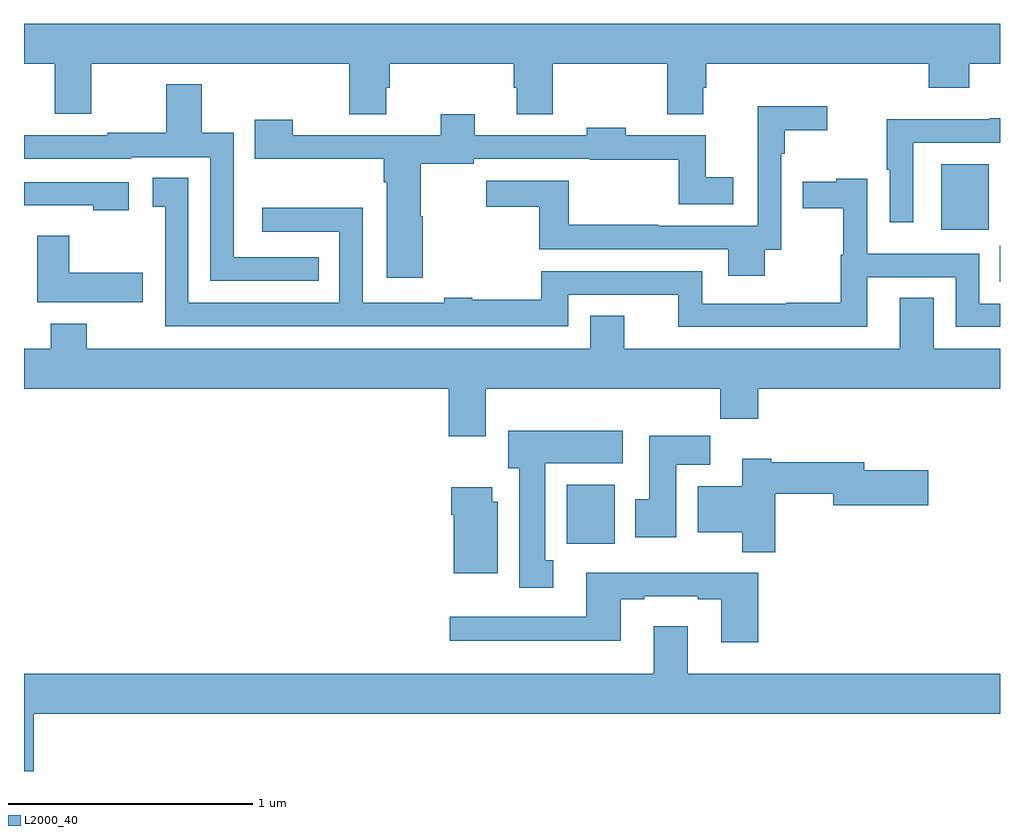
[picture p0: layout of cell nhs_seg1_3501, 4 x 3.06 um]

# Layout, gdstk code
import gdstk
lib = gdstk.Library(unit=1e-6, precision=1e-09)
def R(c, l, rs):  # rectangles x0, y0, x1, y1
    for r in rs: c.add(gdstk.rectangle(r[:2], r[2:], *l))
def P(c, l, *ps):  # polygons
    for p in ps: c.add(gdstk.Polygon(p, *l))
L2000_40 = (2000, 40)

nhs_seg1_3501 = lib.new_cell('nhs_seg1_3501')
R(nhs_seg1_3501, L2000_40, [(303.224,541.772,303.421,542.014), (304.999,542.846,305,542.993), (304.76,543.06,304.954,543.328)])
P(nhs_seg1_3501, L2000_40, [(302.485,543.642),(302.498,543.642),(302.498,543.74),(303.008,543.74),(303.008,543.642),(303.02,543.642),(303.02,543.532),(303.168,543.532),(303.168,543.74),(303.637,543.74),(303.637,543.532),(303.784,543.532),(303.784,543.642),(303.797,543.642),(303.797,543.74),(304.709,543.74),(304.709,543.641),(304.874,543.641),(304.874,543.74),(305,543.74),(305,543.904),(301,543.904),(301,543.74),(301.127,543.74),(301.127,543.534),(301.275,543.534),(301.275,543.74),(302.333,543.74),(302.333,543.532),(302.485,543.532)],
  [(302.207,542.946),(301.86,542.946),(301.86,543.458),(301.729,543.458),(301.729,543.655),(301.582,543.655),(301.582,543.458),(301.344,543.458),(301.344,543.447),(301,543.447),(301,543.351),(301.44,543.351),(301.44,543.357),(301.764,543.357),(301.764,542.85),(302.207,542.85)],
  [(304.035,542.977),(304.104,542.977),(304.104,543.371),(304.117,543.371),(304.117,543.467),(304.291,543.467),(304.291,543.565),(304.007,543.565),(304.007,543.075),(303.599,543.075),(303.599,543.08),(303.232,543.08),(303.232,543.261),(302.895,543.261),(302.895,543.153),(303.111,543.153),(303.111,542.979),(303.887,542.979),(303.887,542.87),(304.035,542.87)],
  [(302.634,543.114),(302.626,543.114),(302.626,543.331),(302.844,543.331),(302.844,543.351),(303.318,543.351),(303.318,543.346),(303.684,543.346),(303.684,543.164),(303.907,543.164),(303.907,543.274),(303.794,543.274),(303.794,543.447),(303.467,543.447),(303.467,543.478),(303.307,543.478),(303.307,543.447),(302.848,543.447),(302.848,543.532),(302.708,543.532),(302.708,543.447),(302.102,543.447),(302.102,543.511),(301.945,543.511),(301.945,543.351),(302.053,543.351),(302.053,543.35),(302.474,543.35),(302.474,543.254),(302.486,543.254),(302.486,542.862),(302.634,542.862)],
  [(304.644,543.417),(305,543.417),(305,543.516),(304.957,543.516),(304.957,543.513),(304.536,543.513),(304.536,543.306),(304.548,543.306),(304.548,543.09),(304.644,543.09)],
  [(304.456,542.865),(304.818,542.865),(304.818,542.661),(305,542.661),(305,542.757),(304.914,542.757),(304.914,542.961),(304.455,542.961),(304.455,543.268),(304.328,543.268),(304.328,543.257),(304.191,543.257),(304.191,543.147),(304.357,543.147),(304.357,542.958),(304.347,542.958),(304.347,542.76),(304.123,542.76),(304.123,542.757),(303.78,542.757),(303.78,542.889),(303.119,542.889),(303.119,542.773),(302.838,542.773),(302.838,542.78),(302.722,542.78),(302.722,542.76),(302.388,542.76),(302.388,543.149),(301.977,543.149),(301.977,543.051),(302.292,543.051),(302.292,542.76),(301.674,542.76),(301.674,543.272),(301.527,543.272),(301.527,543.154),(301.578,543.154),(301.578,542.664),(303.231,542.664),(303.231,542.793),(303.682,542.793),(303.682,542.661),(304.456,542.661)],
  [(301.429,543.255),(301,543.255),(301,543.159),(301.284,543.159),(301.284,543.14),(301.429,543.14)],
  [(301.486,542.884),(301.185,542.884),(301.185,543.034),(301.055,543.034),(301.055,542.762),(301.486,542.762)],
  [(303.46,542.708),(303.32,542.708),(303.32,542.572),(301.257,542.572),(301.257,542.674),(301.109,542.674),(301.109,542.572),(301,542.572),(301,542.408),(302.741,542.408),(302.741,542.214),(302.893,542.214),(302.893,542.408),(303.853,542.408),(303.853,542.284),(304.01,542.284),(304.01,542.408),(305,542.408),(305,542.572),(304.729,542.572),(304.729,542.78),(304.589,542.78),(304.589,542.572),(303.46,542.572)],
  [(303.169,541.706),(303.136,541.706),(303.136,542.102),(303.454,542.102),(303.454,542.236),(302.984,542.236),(302.984,542.082),(303.029,542.082),(303.029,541.593),(303.169,541.593)],
  [(303.673,542.096),(303.812,542.096),(303.812,542.215),(303.563,542.215),(303.563,541.956),(303.506,541.956),(303.506,541.8),(303.673,541.8)],
  [(304.079,541.978),(304.316,541.978),(304.316,541.931),(304.705,541.931),(304.705,542.073),(304.444,542.073),(304.444,542.107),(304.062,542.107),(304.062,542.122),(303.944,542.122),(303.944,542.008),(303.761,542.008),(303.761,541.82),(303.944,541.82),(303.944,541.738),(304.079,541.738)],
  [(302.941,541.944),(302.92,541.944),(302.92,542.005),(302.75,542.005),(302.75,541.892),(302.762,541.892),(302.762,541.652),(302.941,541.652)],
  [(304.01,541.653),(303.893,541.653),(303.893,541.654),(303.305,541.654),(303.305,541.473),(302.745,541.473),(302.745,541.376),(303.445,541.376),(303.445,541.545),(303.541,541.545),(303.541,541.557),(303.761,541.557),(303.761,541.545),(303.857,541.545),(303.857,541.368),(304.01,541.368)],
  [(301.04,541.076),(305,541.076),(305,541.24),(303.721,541.24),(303.721,541.435),(303.581,541.435),(303.581,541.24),(301,541.24),(301,540.84),(301.04,540.84)])

lib.write_gds('nhs_seg1_3501.gds')
